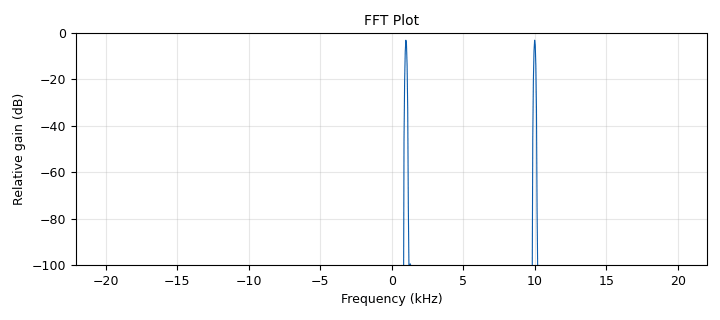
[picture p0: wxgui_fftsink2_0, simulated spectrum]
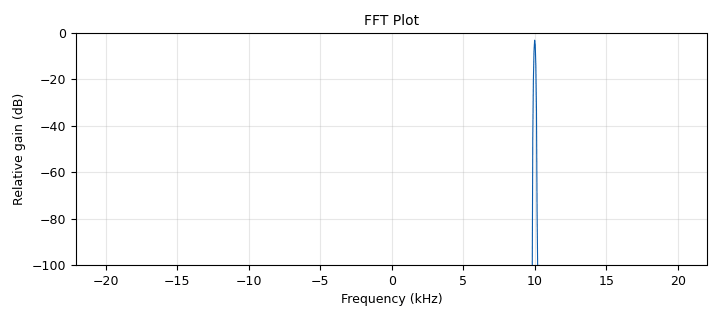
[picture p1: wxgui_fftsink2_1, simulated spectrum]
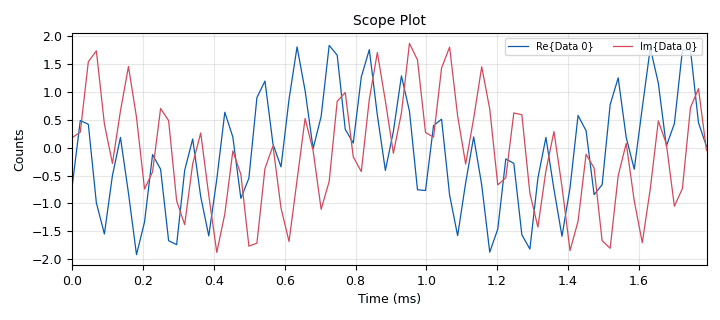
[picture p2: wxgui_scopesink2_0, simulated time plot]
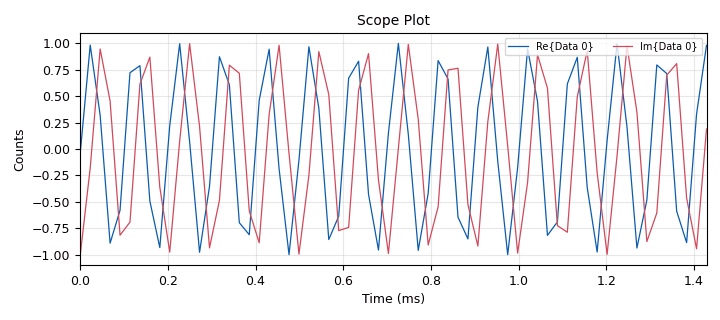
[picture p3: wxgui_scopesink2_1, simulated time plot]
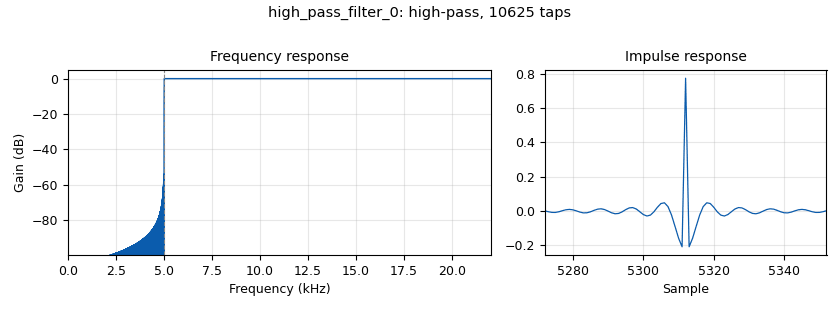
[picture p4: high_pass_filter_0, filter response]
<?xml version='1.0' encoding='utf-8'?>
<?grc format='1' created='3.7.13'?>
<flow_graph>
<block>
<key>options</key>
<param><key>id</key><value>top_block</value></param>
<param><key>generate_options</key><value>wx_gui</value></param>
</block>
<block>
<key>variable_slider</key>
<param><key>id</key><value>fcorte</value></param>
<param><key>converver</key><value>float_converter</value></param>
<param><key>value</key><value>5000</value></param>
<param><key>label</key><value></value></param>
<param><key>max</key><value>20000</value></param>
<param><key>min</key><value>20</value></param>
<param><key>num_steps</key><value>100</value></param>
<param><key>style</key><value>wx.SL_HORIZONTAL</value></param>
</block>
<block>
<key>variable</key>
<param><key>id</key><value>samp_rate</value></param>
<param><key>value</key><value>44100</value></param>
</block>
<block>
<key>analog_sig_source_x</key>
<param><key>id</key><value>analog_sig_source_x_0</value></param>
<param><key>amp</key><value>1</value></param>
<param><key>freq</key><value>1000</value></param>
<param><key>offset</key><value>0</value></param>
<param><key>type</key><value>complex</value></param>
<param><key>samp_rate</key><value>samp_rate</value></param>
<param><key>waveform</key><value>analog.GR_COS_WAVE</value></param>
</block>
<block>
<key>analog_sig_source_x</key>
<param><key>id</key><value>analog_sig_source_x_1</value></param>
<param><key>amp</key><value>1</value></param>
<param><key>freq</key><value>10000</value></param>
<param><key>offset</key><value>0</value></param>
<param><key>type</key><value>complex</value></param>
<param><key>samp_rate</key><value>samp_rate</value></param>
<param><key>waveform</key><value>analog.GR_COS_WAVE</value></param>
</block>
<block>
<key>blocks_add_xx</key>
<param><key>id</key><value>blocks_add_xx_0</value></param>
<param><key>type</key><value>complex</value></param>
</block>
<block>
<key>blocks_throttle</key>
<param><key>id</key><value>blocks_throttle_0</value></param>
<param><key>samples_per_second</key><value>samp_rate</value></param>
<param><key>type</key><value>complex</value></param>
</block>
<block>
<key>high_pass_filter</key>
<param><key>id</key><value>high_pass_filter_0</value></param>
<param><key>cutoff_freq</key><value>fcorte</value></param>
<param><key>decim</key><value>1</value></param>
<param><key>type</key><value>fir_filter_ccf</value></param>
<param><key>gain</key><value>1</value></param>
<param><key>samp_rate</key><value>samp_rate</value></param>
<param><key>width</key><value>10</value></param>
<param><key>win</key><value>firdes.WIN_HAMMING</value></param>
</block>
<block>
<key>notebook</key>
<param><key>id</key><value>noteb</value></param>
<param><key>labels</key><value>['original', 'fft', 'filtrada', 'fftfiltrada']</value></param>
<param><key>style</key><value>wx.NB_TOP</value></param>
</block>
<block>
<key>wxgui_fftsink2</key>
<param><key>id</key><value>wxgui_fftsink2_0</value></param>
<param><key>avg_alpha</key><value>0</value></param>
<param><key>average</key><value>False</value></param>
<param><key>baseband_freq</key><value>0</value></param>
<param><key>fft_size</key><value>1024</value></param>
<param><key>freqvar</key><value>None</value></param>
<param><key>notebook</key><value>noteb,1</value></param>
<param><key>peak_hold</key><value>False</value></param>
<param><key>ref_level</key><value>0</value></param>
<param><key>ref_scale</key><value>2.0</value></param>
<param><key>fft_rate</key><value>15</value></param>
<param><key>samp_rate</key><value>samp_rate</value></param>
<param><key>title</key><value>FFT Plot</value></param>
<param><key>type</key><value>complex</value></param>
<param><key>win</key><value>None</value></param>
<param><key>y_divs</key><value>10</value></param>
<param><key>y_per_div</key><value>10</value></param>
</block>
<block>
<key>wxgui_fftsink2</key>
<param><key>id</key><value>wxgui_fftsink2_1</value></param>
<param><key>avg_alpha</key><value>0</value></param>
<param><key>average</key><value>False</value></param>
<param><key>baseband_freq</key><value>0</value></param>
<param><key>fft_size</key><value>1024</value></param>
<param><key>freqvar</key><value>None</value></param>
<param><key>peak_hold</key><value>False</value></param>
<param><key>ref_level</key><value>0</value></param>
<param><key>ref_scale</key><value>2.0</value></param>
<param><key>fft_rate</key><value>15</value></param>
<param><key>samp_rate</key><value>samp_rate</value></param>
<param><key>title</key><value>FFT Plot</value></param>
<param><key>type</key><value>complex</value></param>
<param><key>win</key><value>None</value></param>
<param><key>y_divs</key><value>10</value></param>
<param><key>y_per_div</key><value>10</value></param>
</block>
<block>
<key>wxgui_scopesink2</key>
<param><key>id</key><value>wxgui_scopesink2_0</value></param>
<param><key>ac_couple</key><value>False</value></param>
<param><key>notebook</key><value>noteb,0</value></param>
<param><key>num_inputs</key><value>1</value></param>
<param><key>samp_rate</key><value>samp_rate</value></param>
<param><key>t_scale</key><value>0</value></param>
<param><key>title</key><value>Scope Plot</value></param>
<param><key>trig_mode</key><value>wxgui.TRIG_MODE_AUTO</value></param>
<param><key>type</key><value>complex</value></param>
<param><key>v_offset</key><value>0</value></param>
<param><key>v_scale</key><value>0</value></param>
<param><key>xy_mode</key><value>False</value></param>
<param><key>y_axis_label</key><value>Counts</value></param>
</block>
<block>
<key>wxgui_scopesink2</key>
<param><key>id</key><value>wxgui_scopesink2_1</value></param>
<param><key>ac_couple</key><value>False</value></param>
<param><key>notebook</key><value>noteb,2</value></param>
<param><key>num_inputs</key><value>1</value></param>
<param><key>samp_rate</key><value>samp_rate</value></param>
<param><key>t_scale</key><value>0</value></param>
<param><key>title</key><value>Scope Plot</value></param>
<param><key>trig_mode</key><value>wxgui.TRIG_MODE_AUTO</value></param>
<param><key>type</key><value>complex</value></param>
<param><key>v_offset</key><value>0</value></param>
<param><key>v_scale</key><value>0</value></param>
<param><key>xy_mode</key><value>False</value></param>
<param><key>y_axis_label</key><value>Counts</value></param>
</block>
<connection><source_block_id>analog_sig_source_x_0</source_block_id><sink_block_id>blocks_add_xx_0</sink_block_id><source_key>0</source_key><sink_key>0</sink_key></connection>
<connection><source_block_id>analog_sig_source_x_1</source_block_id><sink_block_id>blocks_add_xx_0</sink_block_id><source_key>0</source_key><sink_key>1</sink_key></connection>
<connection><source_block_id>blocks_add_xx_0</source_block_id><sink_block_id>blocks_throttle_0</sink_block_id><source_key>0</source_key><sink_key>0</sink_key></connection>
<connection><source_block_id>blocks_throttle_0</source_block_id><sink_block_id>high_pass_filter_0</sink_block_id><source_key>0</source_key><sink_key>0</sink_key></connection>
<connection><source_block_id>blocks_throttle_0</source_block_id><sink_block_id>wxgui_fftsink2_0</sink_block_id><source_key>0</source_key><sink_key>0</sink_key></connection>
<connection><source_block_id>blocks_throttle_0</source_block_id><sink_block_id>wxgui_scopesink2_0</sink_block_id><source_key>0</source_key><sink_key>0</sink_key></connection>
<connection><source_block_id>high_pass_filter_0</source_block_id><sink_block_id>wxgui_fftsink2_1</sink_block_id><source_key>0</source_key><sink_key>0</sink_key></connection>
<connection><source_block_id>high_pass_filter_0</source_block_id><sink_block_id>wxgui_scopesink2_1</sink_block_id><source_key>0</source_key><sink_key>0</sink_key></connection>
</flow_graph>
